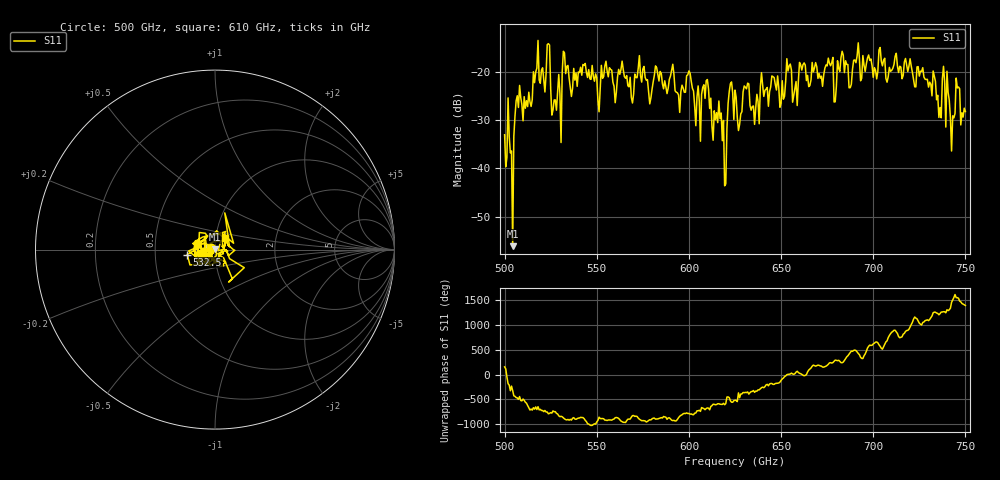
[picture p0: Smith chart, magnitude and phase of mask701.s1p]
!Created with skrf (http://scikit-rf.org).
# GHz S MA R 50.0
!freq magS11 angS11
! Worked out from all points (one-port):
!   401 points, 500 GHz to 750 GHz, reference 50 ohm
!   lowest |S11| = -56.1 dB at 504.4 GHz (marker M1), VSWR 1.00, Z = 50.1 + j0.0979 ohm
!   |S11| at or under -10 dB: start of sweep to end of sweep
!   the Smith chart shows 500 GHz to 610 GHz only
!   S11 on the Smith chart (normalised r, x): 500 GHz: 0.96, +0.02; 532.5 GHz: 0.73, -0.04; 610 GHz: 1.10, +0.14
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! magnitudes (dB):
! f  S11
! 500 GHz  -33.0
! 504.4 GHz  -56.1
! 506.9 GHz  -24.9
! 513.8 GHz  -26.2
! 516.9 GHz  -20.0
! 523.8 GHz  -14.1
! 526.9 GHz  -25.8
! 531.2 GHz  -20.1
! 532.5 GHz  -16.1
! 550.6 GHz  -25.9
! 562.5 GHz  -20.5
! 579.4 GHz  -25.4
! 590.6 GHz  -19.6
! 593.8 GHz  -24.3
! 610 GHz  -21.6
! 617.5 GHz  -28.5
! 619.4 GHz  -43.6
! 622.5 GHz  -22.4
! 625 GHz  -23.8
! 656.2 GHz  -26.3
! 687.5 GHz  -23.3
! 691.2 GHz  -16.7
! 718.8 GHz  -19.9
! 735.6 GHz  -29.4
! 738.8 GHz  -22.0
! 743.1 GHz  -29.1
! 745.6 GHz  -23.3
! 750 GHz  -28.2
